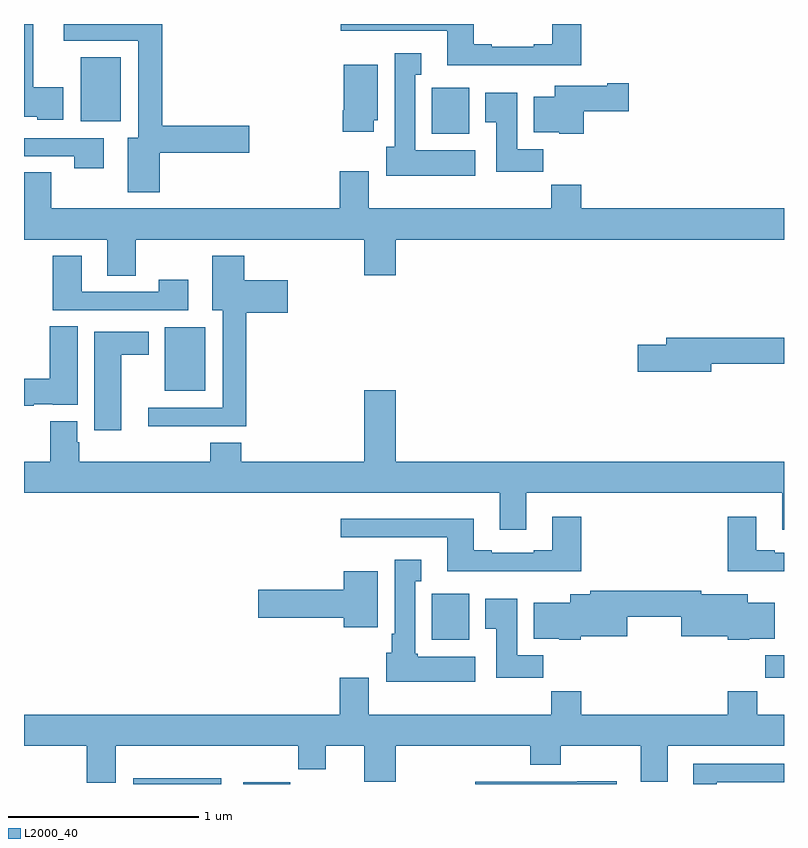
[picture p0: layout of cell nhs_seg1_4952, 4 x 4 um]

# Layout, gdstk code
import gdstk
lib = gdstk.Library(unit=1e-6, precision=1e-09)
def R(c, l, rs):  # rectangles x0, y0, x1, y1
    for r in rs: c.add(gdstk.rectangle(r[:2], r[2:], *l))
def P(c, l, *ps):  # polygons
    for p in ps: c.add(gdstk.Polygon(p, *l))
L2000_40 = (2000, 40)

nhs_seg1_4952 = lib.new_cell('nhs_seg1_4952')
R(nhs_seg1_4952, L2000_40, [(379.574,550.199,380.038,550.228), (380.153,550.199,380.402,550.207), (382.9,550.758,383,550.876), (381.146,550.958,381.343,551.2), (379.742,552.269,379.954,552.604), (381.146,553.622,381.343,553.864), (379.298,553.688,379.51,554.023)])
P(nhs_seg1_4952, L2000_40, [(381.932,554.199),(381.779,554.199),(381.779,554.092),(381.683,554.092),(381.683,554.079),(381.463,554.079),(381.463,554.092),(381.367,554.092),(381.367,554.199),(380.667,554.199),(380.667,554.163),(381.227,554.163),(381.227,553.982),(381.932,553.982)],
  [(379.207,553.865),(379.048,553.865),(379.048,554.199),(379,554.199),(379,553.712),(379.071,553.712),(379.071,553.694),(379.207,553.694)],
  [(379.714,553.522),(380.185,553.522),(380.185,553.664),(379.727,553.664),(379.727,554.199),(379.209,554.199),(379.209,554.112),(379.601,554.112),(379.601,553.6),(379.547,553.6),(379.547,553.314),(379.714,553.314)],
  [(381.376,553.534),(381.058,553.534),(381.058,553.931),(381.091,553.931),(381.091,554.044),(380.951,554.044),(380.951,553.554),(380.906,553.554),(380.906,553.4),(381.376,553.4)],
  [(380.842,553.692),(380.863,553.692),(380.863,553.984),(380.684,553.984),(380.684,553.744),(380.677,553.744),(380.677,553.632),(380.842,553.632)],
  [(381.947,553.739),(382.183,553.739),(382.183,553.886),(382.07,553.886),(382.07,553.873),(381.794,553.873),(381.794,553.816),(381.683,553.816),(381.683,553.628),(381.816,553.628),(381.816,553.622),(381.947,553.622)],
  [(381.734,553.54),(381.595,553.54),(381.595,553.837),(381.428,553.837),(381.428,553.681),(381.485,553.681),(381.485,553.422),(381.734,553.422)],
  [(379.42,553.599),(379,553.599),(379,553.503),(379.264,553.503),(379.264,553.44),(379.42,553.44)],
  [(379.587,553.064),(380.792,553.064),(380.792,552.876),(380.956,552.876),(380.956,553.064),(383,553.064),(383,553.228),(381.932,553.228),(381.932,553.352),(381.775,553.352),(381.775,553.228),(380.815,553.228),(380.815,553.423),(380.663,553.423),(380.663,553.228),(379.143,553.228),(379.143,553.418),(379,553.418),(379,553.064),(379.439,553.064),(379.439,552.874),(379.587,552.874)],
  [(379.864,552.853),(379.708,552.853),(379.708,552.789),(379.303,552.789),(379.303,552.979),(379.151,552.979),(379.151,552.693),(379.864,552.693)],
  [(380.171,552.68),(380.389,552.68),(380.389,552.85),(380.158,552.85),(380.158,552.979),(379.991,552.979),(379.991,552.692),(380.045,552.692),(380.045,552.18),(379.653,552.18),(379.653,552.083),(380.171,552.083)],
  [(379.052,552.197),(379.152,552.197),(379.152,552.194),(379.282,552.194),(379.282,552.608),(379.136,552.608),(379.136,552.332),(379,552.332),(379,552.19),(379.052,552.19)],
  [(379.513,552.458),(379.657,552.458),(379.657,552.58),(379.37,552.58),(379.37,552.06),(379.513,552.06)],
  [(382.618,552.412),(383,552.412),(383,552.548),(382.379,552.548),(382.379,552.512),(382.23,552.512),(382.23,552.37),(382.618,552.37)],
  [(381.643,551.732),(382.991,551.732),(382.991,551.538),(383,551.538),(383,551.896),(380.956,551.896),(380.956,552.271),(380.792,552.271),(380.792,551.896),(380.144,551.896),(380.144,551.995),(379.979,551.995),(379.979,551.896),(379.292,551.896),(379.292,551.997),(379.279,551.997),(379.279,552.109),(379.139,552.109),(379.139,551.896),(379,551.896),(379,551.732),(381.503,551.732),(381.503,551.538),(381.643,551.538)],
  [(381.932,551.605),(381.779,551.605),(381.779,551.428),(381.683,551.428),(381.683,551.415),(381.463,551.415),(381.463,551.428),(381.367,551.428),(381.367,551.596),(380.667,551.596),(380.667,551.499),(381.227,551.499),(381.227,551.318),(381.932,551.318)],
  [(383,551.415),(382.951,551.415),(382.951,551.428),(382.855,551.428),(382.855,551.605),(382.703,551.605),(382.703,551.318),(383,551.318)],
  [(381.376,550.87),(381.072,550.87),(381.072,550.884),(381.058,550.884),(381.058,551.267),(381.091,551.267),(381.091,551.38),(380.951,551.38),(380.951,550.99),(380.936,550.99),(380.936,550.89),(380.906,550.89),(380.906,550.736),(381.376,550.736)],
  [(380.863,551.32),(380.684,551.32),(380.684,551.222),(380.232,551.222),(380.232,551.075),(380.684,551.075),(380.684,551.024),(380.863,551.024)],
  [(381.93,550.976),(382.174,550.976),(382.174,551.08),(382.46,551.08),(382.46,550.976),(382.704,550.976),(382.704,550.958),(382.818,550.958),(382.818,550.964),(382.951,550.964),(382.951,551.152),(382.81,551.152),(382.81,551.197),(382.564,551.197),(382.564,551.216),(381.979,551.216),(381.979,551.197),(381.875,551.197),(381.875,551.152),(381.683,551.152),(381.683,550.964),(381.816,550.964),(381.816,550.958),(381.93,550.958)],
  [(381.734,550.876),(381.595,550.876),(381.595,551.173),(381.428,551.173),(381.428,551.017),(381.485,551.017),(381.485,550.758),(381.734,550.758)],
  [(379.483,550.4),(380.443,550.4),(380.443,550.276),(380.587,550.276),(380.587,550.4),(380.792,550.4),(380.792,550.212),(380.956,550.212),(380.956,550.4),(381.665,550.4),(381.665,550.301),(381.825,550.301),(381.825,550.4),(382.247,550.4),(382.247,550.21),(382.387,550.21),(382.387,550.4),(383,550.4),(383,550.564),(382.859,550.564),(382.859,550.688),(382.703,550.688),(382.703,550.564),(381.932,550.564),(381.932,550.688),(381.775,550.688),(381.775,550.564),(380.815,550.564),(380.815,550.759),(380.663,550.759),(380.663,550.564),(379,550.564),(379,550.4),(379.331,550.4),(379.331,550.206),(379.483,550.206)],
  [(382.645,550.209),(383,550.209),(383,550.305),(382.523,550.305),(382.523,550.199),(382.645,550.199)],
  [(382.119,550.214),(381.913,550.214),(381.913,550.212),(381.375,550.212),(381.375,550.199),(382.119,550.199)])

lib.write_gds('nhs_seg1_4952.gds')
